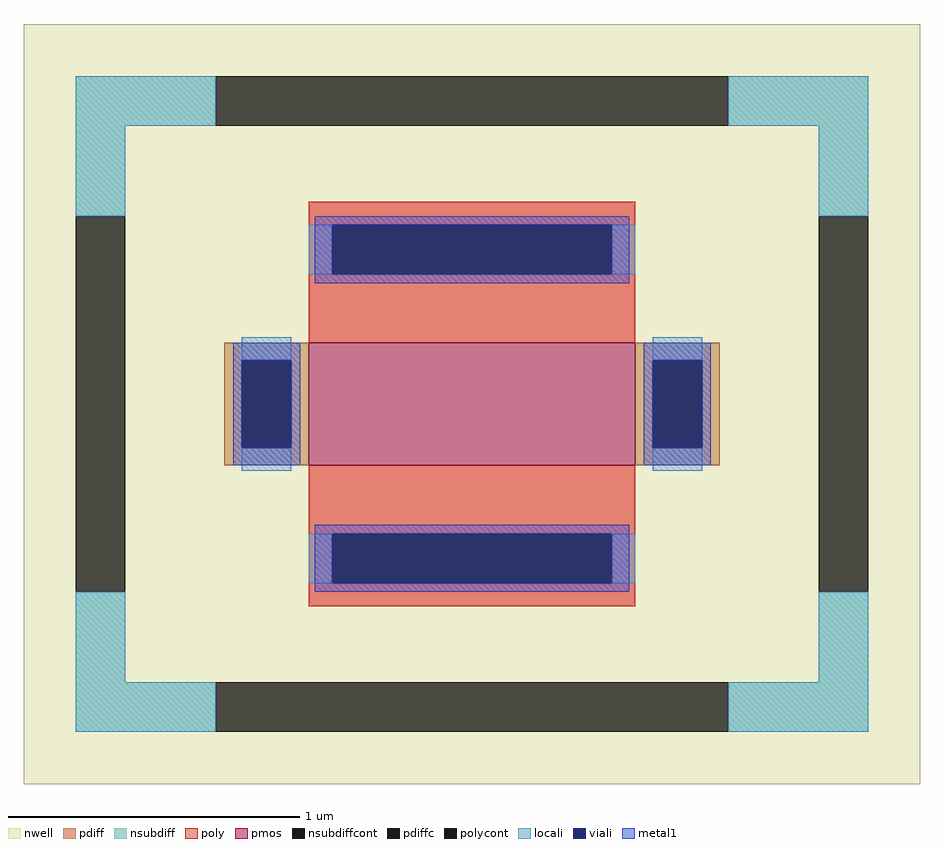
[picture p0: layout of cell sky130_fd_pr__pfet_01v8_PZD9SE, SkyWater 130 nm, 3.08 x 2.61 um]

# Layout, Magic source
magic
tech sky130A
magscale 1 2
<< nwell >>
rect -308 -261 308 261
<< pmos >>
rect -112 -42 112 42
<< pdiff >>
rect -170 30 -112 42
rect -170 -30 -158 30
rect -124 -30 -112 30
rect -170 -42 -112 -30
rect 112 30 170 42
rect 112 -30 124 30
rect 158 -30 170 30
rect 112 -42 170 -30
<< pdiffc >>
rect -158 -30 -124 30
rect 124 -30 158 30
<< nsubdiff >>
rect -272 191 -176 225
rect 176 191 272 225
rect -272 129 -238 191
rect 238 129 272 191
rect -272 -191 -238 -129
rect 238 -191 272 -129
rect -272 -225 -176 -191
rect 176 -225 272 -191
<< nsubdiffcont >>
rect -176 191 176 225
rect -272 -129 -238 129
rect 238 -129 272 129
rect -176 -225 176 -191
<< poly >>
rect -112 123 112 139
rect -112 89 -96 123
rect 96 89 112 123
rect -112 42 112 89
rect -112 -89 112 -42
rect -112 -123 -96 -89
rect 96 -123 112 -89
rect -112 -139 112 -123
<< polycont >>
rect -96 89 96 123
rect -96 -123 96 -89
<< locali >>
rect -272 191 -176 225
rect 176 191 272 225
rect -272 129 -238 191
rect 238 129 272 191
rect -112 89 -96 123
rect 96 89 112 123
rect -158 30 -124 46
rect -158 -46 -124 -30
rect 124 30 158 46
rect 124 -46 158 -30
rect -112 -123 -96 -89
rect 96 -123 112 -89
rect -272 -191 -238 -129
rect 238 -191 272 -129
rect -272 -225 -176 -191
rect 176 -225 272 -191
<< viali >>
rect -96 89 96 123
rect -158 -30 -124 30
rect 124 -30 158 30
rect -96 -123 96 -89
<< metal1 >>
rect -108 123 108 129
rect -108 89 -96 123
rect 96 89 108 123
rect -108 83 108 89
rect -164 30 -118 42
rect -164 -30 -158 30
rect -124 -30 -118 30
rect -164 -42 -118 -30
rect 118 30 164 42
rect 118 -30 124 30
rect 158 -30 164 30
rect 118 -42 164 -30
rect -108 -89 108 -83
rect -108 -123 -96 -89
rect 96 -123 108 -89
rect -108 -129 108 -123
<< properties >>
string FIXED_BBOX -255 -208 255 208
string gencell sky130_fd_pr__pfet_01v8
string library sky130
string parameters w 0.42 l 1.12 m 1 nf 1 diffcov 100 polycov 100 guard 1 glc 1 grc 1 gtc 1 gbc 1 tbcov 100 rlcov 100 topc 1 botc 1 poverlap 0 doverlap 1 lmin 0.15 wmin 0.42 compatible {sky130_fd_pr__pfet_01v8  sky130_fd_pr__pfet_01v8_lvt sky130_fd_pr__pfet_01v8_hvt  sky130_fd_pr__pfet_g5v0d10v5} full_metal 1 viasrc 100 viadrn 100 viagate 100 viagb 0 viagr 0 viagl 0 viagt 0
<< end >>
